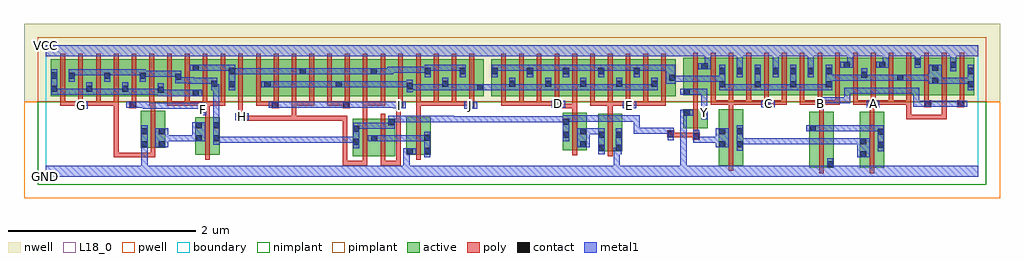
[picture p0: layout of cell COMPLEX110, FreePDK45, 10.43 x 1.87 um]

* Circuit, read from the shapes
.subckt COMPLEX110 A B C D E F G GND H I J VCC Y
M1 n1 G GND VSUBS nfet w=0.4u l=0.05u
M2 n2 F n1 VSUBS nfet w=0.4u l=0.05u
M3 n3 H n2 VSUBS nfet w=0.4u l=0.05u
M4 n2 I n3 VSUBS nfet w=0.4u l=0.05u
M5 n3 J GND VSUBS nfet w=0.4u l=0.05u
M6 n4 D n2 VSUBS nfet w=0.4u l=0.05u
M7 GND E n4 VSUBS nfet w=0.4u l=0.05u
M8 Y n2 GND VSUBS nfet w=0.2u l=0.05u
M9 n5 C n2 VSUBS nfet w=0.6u l=0.05u
M10 GND B n6 VSUBS nfet w=0.6u l=0.05u
M11 n6 A n5 VSUBS nfet w=0.6u l=0.05u
M12 n2 G n7 n8 pfet w=0.4u l=0.05u m=5
M13 n2 F n7 n8 pfet w=0.4u l=0.05u m=5
M14 n9 H n7 n8 pfet w=0.4u l=0.05u
M15 n10 I n9 n8 pfet w=0.4u l=0.05u
M16 n11 I n10 n8 pfet w=0.4u l=0.05u
M17 n7 H n11 n8 pfet w=0.4u l=0.05u
M18 n12 H n7 n8 pfet w=0.4u l=0.05u
M19 n10 I n12 n8 pfet w=0.4u l=0.05u
M20 n13 I n10 n8 pfet w=0.4u l=0.05u
M21 n7 H n13 n8 pfet w=0.4u l=0.05u
M22 n14 H n7 n8 pfet w=0.4u l=0.05u
M23 n10 I n14 n8 pfet w=0.4u l=0.05u
M24 n7 J n10 n8 pfet w=0.4u l=0.05u m=4
M25 n10 D n15 n8 pfet w=0.4u l=0.05u m=5
M26 n15 E n10 n8 pfet w=0.4u l=0.05u m=5
M27 VCC n2 Y n8 pfet w=0.4u l=0.05u
M28 n15 C VCC n8 pfet w=0.4u l=0.05u m=5
M29 VCC B n15 n8 pfet w=0.4u l=0.05u m=5
M30 n15 A VCC n8 pfet w=0.4u l=0.05u m=5
.ends

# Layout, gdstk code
import gdstk
lib = gdstk.Library(unit=1e-6, precision=1e-09)
def R(c, l, rs):  # rectangles x0, y0, x1, y1
    for r in rs: c.add(gdstk.rectangle(r[:2], r[2:], *l))
def A(c, l, x, y, w, h, nx, ny, dx, dy):  # array of equal rectangles
    R(c, l, [(x+i*dx, y+j*dy, x+i*dx+w, y+j*dy+h) for i in range(nx) for j in range(ny)])
active = (1, 0)
pwell = (2, 0)
nwell = (3, 0)
nimplant = (4, 0)
pimplant = (5, 0)
poly = (9, 0)
contact = (10, 0)
metal1 = (11, 0)
L18_0 = (18, 0)
boundary = (235, 0)

complex110 = lib.new_cell('COMPLEX110')
A(complex110, active, 0.615, 0.855, 0.075, 0.345, 3, 1, 0.38, 0)
A(complex110, active, 1.19, 0.855, 0.075, 0.215, 3, 1, 0.57, 0)
A(complex110, active, 5.895, 0.855, 0.075, 0.345, 3, 1, 0.38, 0)
A(complex110, active, 7.19, 0.867, 0.075, 0.333, 4, 1, 0.38, 0)
A(complex110, active, 7.76, 0.867, 0.075, 0.4, 3, 1, 0.76, 0)
A(complex110, active, 7.76, 0.867, 0.265, 0.4, 3, 1, 0.57, 0)
R(complex110, active, [(8.157,0.092,8.417,0.692), (8.342,0.092,8.417,0.647), (8.697,0.092,8.957,0.692), (7.19,0.117,7.45,0.717), (7.19,0.145,7.265,0.717), (7.375,0.145,7.45,0.717), (8.157,0.145,8.232,0.692), (8.697,0.145,8.772,0.677), (8.882,0.145,8.957,0.692), (3.28,0.217,3.355,0.617), (3.28,0.217,3.545,0.617), (3.47,0.217,3.73,0.617), (3.47,0.217,3.545,0.537), (1.595,0.232,1.855,0.632), (1.595,0.232,1.67,0.632), (1.78,0.232,1.855,0.632), (3.85,0.232,4.11,0.632), (3.85,0.232,3.925,0.492), (4.035,0.232,4.11,0.632), (5.9,0.27,6.16,0.67), (5.9,0.27,5.975,0.67), (6.085,0.27,6.16,0.597), (5.52,0.28,5.78,0.68), (5.705,0.28,5.78,0.68), (1.015,0.305,1.275,0.705), (1.015,0.305,1.09,0.705), (1.2,0.305,1.275,0.705), (3.655,0.322,3.73,0.617), (5.52,0.345,5.595,0.68), (6.81,0.517,6.885,0.717), (6.81,0.517,7.07,0.717), (6.995,0.517,7.07,0.717), (0.05,0.855,0.315,1.255), (0.05,0.855,0.125,1.2), (0.24,0.855,0.5,1.255), (0.24,0.855,0.315,1.2), (0.425,0.855,0.69,1.255), (0.425,0.855,0.5,1.07), (0.615,0.855,0.885,1.255), (0.81,0.855,1.07,1.255), (0.81,0.855,0.885,1.07), (0.995,0.855,1.265,1.255), (1.19,0.855,1.45,1.255), (1.375,0.855,1.64,1.255), (1.565,0.855,1.835,1.255), (1.565,0.855,1.64,1.2), (1.76,0.855,2.025,1.255), (1.95,0.855,2.025,1.2), (1.95,0.855,2.175,1.255), (2.175,0.855,2.405,1.255), (2.33,0.855,2.555,1.255), (2.555,0.855,2.78,1.255), (2.705,0.855,2.78,1.2), (2.705,0.855,2.935,1.255), (2.935,0.855,3.165,1.255), (3.09,0.855,3.165,1.07), (3.09,0.855,3.315,1.255), (3.315,0.855,3.54,1.255), (3.465,0.855,3.54,1.2), (3.465,0.855,3.695,1.255), (3.695,0.855,3.925,1.255), (3.85,0.855,4.115,1.255), (3.85,0.855,3.925,1.07), (4.04,0.855,4.305,1.255), (4.04,0.855,4.115,1.2), (4.23,0.855,4.49,1.255), (4.23,0.855,4.305,1.07), (4.415,0.855,4.68,1.255), (4.415,0.855,4.49,1.2), (4.605,0.855,4.68,1.2), (4.76,0.855,5.02,1.255), (4.76,0.855,4.835,1.2), (4.945,0.855,5.21,1.255), (4.945,0.855,5.02,1.07), (5.135,0.855,5.405,1.255), (5.135,0.855,5.21,1.2), (5.33,0.855,5.595,1.255), (5.33,0.855,5.405,1.07), (5.52,0.855,5.78,1.255), (5.52,0.855,5.595,1.2), (5.705,0.855,5.97,1.255), (5.705,0.855,5.78,1.07), (5.895,0.855,6.165,1.255), (6.09,0.855,6.35,1.255), (6.09,0.855,6.165,1.07), (6.275,0.855,6.54,1.255), (6.465,0.855,6.73,1.255), (6.465,0.855,6.54,1.07), (6.81,0.867,7.075,1.267), (6.81,0.867,6.885,1.07), (7,0.867,7.075,1.267), (7,0.867,7.265,1.267), (7.19,0.867,7.45,1.267), (7.375,0.867,7.45,1.267), (7.375,0.867,7.645,1.267), (7.57,0.867,7.835,1.267), (7.95,0.867,8.21,1.267), (8.135,0.867,8.405,1.267), (8.52,0.867,8.78,1.267), (8.705,0.867,8.975,1.267), (9.09,0.867,9.355,1.267), (9.09,0.867,9.165,1.2), (9.28,0.867,9.54,1.267), (9.465,0.867,9.54,1.2), (9.465,0.867,9.735,1.267), (9.66,0.867,9.92,1.267), (9.66,0.867,9.735,1.267), (9.845,0.867,9.92,1.2), (8.135,0.907,8.21,1.267), (8.705,0.907,8.78,1.2), (8.9,0.907,8.975,1.267)])
R(complex110, pwell, [(-0.235,-0.235,10.195,0.8)])
R(complex110, nwell, [(-0.235,0.8,10.195,1.635)])
R(complex110, nimplant, [(-0.09,-0.09,10.05,0.8)])
R(complex110, pimplant, [(-0.09,0.8,10.05,1.49)])
A(complex110, poly, 0.155, 0.755, 0.05, 0.095, 10, 1, 0.19, 0)
A(complex110, poly, 2.245, 0.755, 0.05, 0.095, 13, 1, 0.19, 0)
A(complex110, poly, 2.625, 0.755, 0.05, 0.05, 3, 1, 0.19, 0)
A(complex110, poly, 4.865, 0.755, 0.05, 0.095, 4, 1, 0.19, 0)
A(complex110, poly, 4.865, 0.755, 0.24, 0.05, 3, 1, 0.19, 0)
A(complex110, poly, 5.815, 0.755, 0.05, 0.095, 5, 1, 0.19, 0)
A(complex110, poly, 5.815, 0.755, 0.05, 0.05, 3, 1, 0.19, 0)
A(complex110, poly, 6.915, 0.767, 0.05, 0.095, 14, 1, 0.19, 0)
A(complex110, poly, 6.915, 0.767, 0.05, 0.05, 3, 1, 0.19, 0)
A(complex110, poly, 7.105, 0.767, 0.24, 0.05, 3, 1, 0.19, 0)
A(complex110, poly, 0.155, 0.8, 0.05, 0.51, 24, 1, 0.19, 0)
A(complex110, poly, 4.865, 0.8, 0.05, 0.51, 10, 1, 0.19, 0)
A(complex110, poly, 6.915, 0.812, 0.05, 0.51, 16, 1, 0.19, 0)
R(complex110, poly, [(8.262,0.037,8.312,0.747), (8.802,0.037,8.852,0.747), (7.295,0.062,7.345,0.772), (3.17,0.117,3.22,0.167), (3.17,0.117,3.22,0.167), (3.17,0.117,3.22,0.167), (3.17,0.117,3.435,0.167), (3.17,0.117,3.22,0.647), (3.385,0.117,3.435,0.212), (3.385,0.117,3.435,0.167), (3.385,0.117,3.435,0.167), (3.385,0.117,3.435,0.167), (3.575,0.117,3.625,0.212), (3.575,0.117,3.625,0.167), (3.575,0.117,3.792,0.167), (3.742,0.117,3.792,0.167), (3.742,0.117,3.792,0.167), (3.742,0.117,3.792,0.167), (3.742,0.117,3.792,0.167), (3.742,0.117,3.792,0.167), (3.742,0.117,3.792,0.167), (3.742,0.117,3.792,0.167), (3.742,0.117,3.792,0.78), (3.385,0.162,3.435,0.672), (3.575,0.162,3.625,0.672), (1.7,0.177,1.75,0.687), (3.955,0.177,4.005,0.687), (0.725,0.205,0.775,0.255), (0.725,0.205,0.775,0.255), (0.725,0.205,0.775,0.255), (0.725,0.205,0.775,0.255), (0.725,0.205,0.775,0.255), (0.725,0.205,1.022,0.255), (0.725,0.205,0.775,0.805), (0.972,0.205,1.022,0.255), (0.972,0.205,1.17,0.255), (1.12,0.205,1.17,0.3), (1.12,0.205,1.17,0.255), (1.12,0.205,1.17,0.255), (1.12,0.205,1.17,0.255), (6.005,0.215,6.055,0.725), (5.625,0.225,5.675,0.735), (1.12,0.25,1.17,0.76), (6.912,0.392,6.987,0.467), (6.637,0.417,6.712,0.492), (6.662,0.417,6.757,0.467), (6.707,0.417,6.757,0.467), (6.707,0.417,6.962,0.467), (6.912,0.417,6.962,0.467), (6.912,0.417,6.962,0.467), (6.915,0.417,6.965,0.512), (6.915,0.462,6.965,0.772), (2.055,0.597,2.13,0.672), (2.08,0.597,2.13,0.647), (2.08,0.597,2.13,0.647), (2.08,0.597,2.13,0.647), (2.08,0.597,2.13,0.647), (2.08,0.597,2.13,0.647), (2.08,0.597,2.13,0.647), (2.08,0.597,2.262,0.647), (2.212,0.597,2.262,0.647), (2.212,0.597,2.262,0.647), (2.212,0.597,2.262,0.647), (2.212,0.597,2.542,0.647), (2.492,0.597,2.542,0.647), (2.492,0.597,2.542,0.647), (2.492,0.597,2.542,0.647), (2.492,0.597,2.675,0.647), (2.625,0.597,2.675,0.647), (2.625,0.597,2.675,0.647), (2.625,0.597,2.675,0.647), (2.625,0.597,2.675,0.647), (2.625,0.597,2.675,0.647), (2.625,0.597,2.675,0.647), (2.625,0.597,2.675,0.647), (2.625,0.597,2.675,0.647), (2.625,0.597,2.675,0.647), (2.625,0.597,2.897,0.647), (2.625,0.597,2.675,0.805), (2.847,0.597,2.897,0.647), (2.847,0.597,2.897,0.647), (2.847,0.597,2.897,0.647), (2.847,0.597,3.087,0.647), (3.037,0.597,3.087,0.647), (3.037,0.597,3.22,0.647), (3.17,0.597,3.22,0.647), (9.195,0.61,9.245,0.66), (9.195,0.61,9.245,0.66), (9.195,0.61,9.245,0.66), (9.195,0.61,9.492,0.66), (9.195,0.61,9.245,0.817), (9.442,0.61,9.492,0.66), (9.442,0.61,9.492,0.66), (9.442,0.61,9.492,0.66), (9.442,0.61,9.625,0.66), (9.575,0.61,9.625,0.862), (9.575,0.61,9.625,0.66), (9.575,0.61,9.625,0.66), (9.575,0.61,9.625,0.66), (9.575,0.61,9.625,0.66), (9.575,0.61,9.625,0.66), (9.575,0.61,9.625,0.66), (9.575,0.61,9.625,0.66), (2.055,0.622,2.105,0.85), (3.385,0.622,3.435,0.805), (1.7,0.637,1.75,0.732), (3.955,0.637,4.005,0.805), (6.005,0.675,6.055,0.805), (1.642,0.682,1.75,0.805), (5.625,0.685,5.675,0.78), (8.262,0.697,8.312,0.792), (8.802,0.697,8.852,0.792), (1.12,0.71,1.17,0.805), (6.915,0.722,6.965,0.817), (7.295,0.722,7.345,0.817), (0.342,0.73,0.417,0.805), (0.89,0.73,0.965,0.805), (2.41,0.73,2.485,0.805), (3.17,0.73,3.245,0.805), (3.742,0.73,3.817,0.805), (3.742,0.73,3.792,0.78), (3.742,0.73,3.792,0.78), (3.742,0.73,3.792,0.78), (3.742,0.73,3.792,0.78), (4.5,0.73,4.575,0.805), (5.435,0.73,5.51,0.805), (5.46,0.73,5.51,0.78), (5.46,0.73,5.51,0.78), (5.46,0.73,5.675,0.78), (5.625,0.73,5.675,0.78), (5.625,0.73,5.675,0.85), (6.195,0.73,6.27,0.805), (7.675,0.742,7.75,0.817), (8.242,0.742,8.317,0.817), (8.802,0.742,8.877,0.817), (9.385,0.742,9.46,0.817), (9.74,0.742,9.815,0.817), (0.155,0.755,0.205,0.805), (0.155,0.755,0.205,0.805), (0.155,0.755,0.205,0.805), (0.155,0.755,0.392,0.805), (0.367,0.755,0.417,0.805), (0.367,0.755,0.417,0.805), (0.367,0.755,0.585,0.805), (0.535,0.755,0.585,0.805), (0.535,0.755,0.585,0.805), (0.535,0.755,0.585,0.805), (0.535,0.755,0.775,0.805), (0.725,0.755,0.775,0.805), (0.725,0.755,0.775,0.805), (0.725,0.755,0.775,0.805), (0.725,0.755,0.775,0.805), (0.725,0.755,0.775,0.805), (0.725,0.755,0.775,0.805), (0.725,0.755,0.775,0.805), (1.105,0.755,1.17,0.805), (1.295,0.755,1.345,0.805), (1.295,0.755,1.535,0.805), (1.485,0.755,1.535,0.805), (1.485,0.755,1.535,0.805), (1.485,0.755,1.535,0.805), (1.485,0.755,1.692,0.805), (1.642,0.755,1.692,0.805), (1.642,0.755,1.692,0.805), (1.7,0.755,1.915,0.805), (1.865,0.755,1.915,0.805), (1.865,0.755,1.915,0.805), (1.865,0.755,1.915,0.805), (2.245,0.755,2.295,0.805), (2.245,0.755,2.295,0.805), (2.245,0.755,2.295,0.805), (2.245,0.755,2.46,0.805), (2.625,0.755,2.675,0.805), (2.625,0.755,2.675,0.805), (2.625,0.755,2.865,0.805), (3.005,0.755,3.22,0.805), (3.17,0.755,3.22,0.805), (3.17,0.755,3.22,0.805), (3.385,0.755,3.435,0.805), (3.385,0.755,3.625,0.805), (3.575,0.755,3.625,0.805), (3.575,0.755,3.625,0.805), (3.575,0.755,3.625,0.805), (3.955,0.755,4.005,0.805), (3.955,0.755,4.195,0.805), (4.145,0.755,4.195,0.805), (4.145,0.755,4.195,0.805), (4.145,0.755,4.195,0.805), (4.145,0.755,4.385,0.805), (4.335,0.755,4.385,0.805), (4.335,0.755,4.385,0.805), (4.335,0.755,4.385,0.805), (4.335,0.755,4.55,0.805), (4.5,0.755,4.55,0.805), (4.5,0.755,4.55,0.805), (4.865,0.755,4.915,0.805), (4.865,0.755,4.915,0.805), (4.865,0.755,4.915,0.805), (5.055,0.755,5.105,0.805), (5.055,0.755,5.105,0.805), (5.055,0.755,5.105,0.805), (5.245,0.755,5.295,0.805), (5.245,0.755,5.295,0.805), (5.245,0.755,5.295,0.805), (5.815,0.755,5.865,0.805), (5.815,0.755,5.865,0.805), (5.815,0.755,6.055,0.805), (6.005,0.755,6.245,0.805), (6.195,0.755,6.245,0.805), (6.22,0.755,6.435,0.805), (6.385,0.755,6.435,0.805), (6.385,0.755,6.435,0.805), (6.385,0.755,6.435,0.805), (6.385,0.755,6.625,0.805), (6.575,0.755,6.625,0.805), (6.575,0.755,6.625,0.805), (6.575,0.755,6.625,0.805), (7.295,0.767,7.345,0.817), (7.295,0.767,7.345,0.817), (7.485,0.767,7.535,0.817), (7.485,0.767,7.535,0.817), (7.485,0.767,7.535,0.817), (7.675,0.767,7.725,0.817), (7.675,0.767,7.725,0.817), (7.7,0.767,7.915,0.817), (7.865,0.767,7.915,0.817), (7.865,0.767,7.915,0.817), (7.865,0.767,7.915,0.817), (8.055,0.767,8.105,0.817), (8.055,0.767,8.105,0.817), (8.055,0.767,8.105,0.817), (8.055,0.767,8.292,0.817), (8.267,0.767,8.317,0.817), (8.267,0.767,8.317,0.817), (8.267,0.767,8.485,0.817), (8.435,0.767,8.485,0.817), (8.625,0.767,8.675,0.817), (8.625,0.767,8.675,0.817), (8.625,0.767,8.675,0.817), (8.625,0.767,8.852,0.817), (8.827,0.767,9.055,0.817), (9.005,0.767,9.055,0.817), (9.005,0.767,9.055,0.817), (9.005,0.767,9.055,0.817), (9.005,0.767,9.245,0.817), (9.195,0.767,9.245,0.817), (9.195,0.767,9.245,0.817), (9.195,0.767,9.245,0.817), (9.765,0.767,9.815,0.862)])
A(complex110, contact, 7.195, 0.955, 0.065, 0.065, 4, 1, 0.38, 0)
A(complex110, contact, 7.575, 1.095, 0.065, 0.065, 3, 1, 0.19, 0)
R(complex110, contact, [(8.347,0.097,8.412,0.162), (8.702,0.205,8.767,0.27), (3.855,0.237,3.92,0.302), (4.04,0.24,4.105,0.305), (5.905,0.275,5.97,0.34), (6.09,0.275,6.155,0.34), (8.887,0.307,8.952,0.372), (1.02,0.31,1.085,0.375), (1.205,0.31,1.27,0.375), (5.71,0.31,5.775,0.375), (7.195,0.31,7.26,0.375), (7.38,0.31,7.445,0.375), (3.285,0.337,3.35,0.402), (8.702,0.345,8.767,0.41), (1.6,0.375,1.665,0.44), (1.785,0.375,1.85,0.44), (3.475,0.375,3.54,0.44), (4.04,0.38,4.105,0.445), (6.917,0.397,6.982,0.462), (5.525,0.412,5.59,0.477), (5.905,0.415,5.97,0.48), (6.09,0.415,6.155,0.48), (6.642,0.422,6.707,0.487), (8.887,0.447,8.952,0.512), (1.02,0.45,1.085,0.515), (1.205,0.45,1.27,0.515), (5.71,0.45,5.775,0.515), (7.195,0.45,7.26,0.515), (7.38,0.45,7.445,0.515), (3.285,0.477,3.35,0.542), (8.162,0.482,8.227,0.547), (1.6,0.515,1.665,0.58), (1.785,0.515,1.85,0.58), (3.66,0.547,3.725,0.612), (5.525,0.552,5.59,0.617), (2.06,0.602,2.125,0.667), (6.815,0.647,6.88,0.712), (7,0.647,7.065,0.712), (1.647,0.687,1.712,0.752), (0.347,0.735,0.412,0.8), (0.895,0.735,0.96,0.8), (2.415,0.735,2.48,0.8), (3.175,0.735,3.24,0.8), (3.747,0.735,3.812,0.8), (4.505,0.735,4.57,0.8), (5.44,0.735,5.505,0.8), (6.2,0.735,6.265,0.8), (7.68,0.747,7.745,0.812), (8.247,0.747,8.312,0.812), (8.807,0.747,8.872,0.812), (9.39,0.747,9.455,0.812), (9.745,0.747,9.81,0.812), (1.57,0.86,1.635,0.925), (6.815,0.872,6.88,0.937), (1.195,0.895,1.26,0.96), (0.055,0.907,0.12,0.972), (0.43,0.907,0.495,0.972), (0.815,0.907,0.88,0.972), (4.61,0.922,4.675,0.987), (3.855,0.935,3.92,1), (1.955,0.955,2.02,1.02), (2.335,0.955,2.4,1.02), (3.095,0.955,3.16,1.02), (9.85,0.955,9.915,1.02), (1.765,0.957,1.83,1.022), (4.235,0.957,4.3,1.022), (4.95,0.957,5.015,1.022), (5.335,0.957,5.4,1.022), (5.71,0.957,5.775,1.022), (6.095,0.957,6.16,1.022), (6.47,0.957,6.535,1.022), (9.47,0.99,9.535,1.055), (9.095,1.022,9.16,1.087), (6.66,1.025,6.725,1.09), (1.38,1.032,1.445,1.097), (0.245,1.045,0.31,1.11), (0.62,1.045,0.685,1.11), (1,1.045,1.065,1.11), (0.055,1.047,0.12,1.112), (8.71,1.057,8.775,1.122), (2.71,1.092,2.775,1.157), (3.47,1.092,3.535,1.157), (1.955,1.095,2.02,1.16), (4.045,1.095,4.11,1.16), (4.42,1.095,4.485,1.16), (4.765,1.095,4.83,1.16), (5.14,1.095,5.205,1.16), (5.525,1.095,5.59,1.16), (5.9,1.095,5.965,1.16), (6.28,1.095,6.345,1.16), (7.195,1.095,7.26,1.16), (7.38,1.095,7.445,1.16), (8.14,1.095,8.205,1.16), (8.335,1.095,8.4,1.16), (9.85,1.095,9.915,1.16), (1.57,1.13,1.635,1.195), (9.47,1.13,9.535,1.195), (7.005,1.147,7.07,1.212), (8.525,1.16,8.59,1.225), (8.905,1.16,8.97,1.225), (9.665,1.162,9.73,1.227), (9.285,1.195,9.35,1.26)])
A(complex110, metal1, 7.195, 0.92, 0.065, 0.275, 4, 1, 0.38, 0)
R(complex110, metal1, [(0,0,9.96,0.115), (1.02,0.05,1.085,0.115), (1.02,0.05,1.085,0.115), (1.02,0.05,1.085,0.34), (3.82,0.05,3.885,0.115), (3.82,0.05,3.885,0.115), (3.82,0.05,3.885,0.115), (3.82,0.05,3.885,0.115), (3.82,0.05,3.885,0.302), (6.067,0.05,6.132,0.115), (6.067,0.05,6.132,0.115), (6.067,0.05,6.132,0.305), (6.78,0.05,6.845,0.115), (6.78,0.05,6.845,0.115), (6.78,0.05,6.845,0.115), (6.78,0.05,6.845,0.115), (6.78,0.05,6.845,0.115), (6.78,0.05,6.845,0.115), (6.78,0.05,6.845,0.115), (6.78,0.05,6.845,0.115), (6.78,0.05,6.845,0.712), (8.347,0.05,8.412,0.127), (8.347,0.062,8.412,0.127), (8.347,0.062,8.412,0.127), (8.347,0.062,8.412,0.197), (4.04,0.205,4.105,0.48), (8.667,0.205,8.802,0.41), (3.82,0.237,3.955,0.302), (5.902,0.24,5.97,0.515), (6.067,0.24,6.155,0.305), (6.09,0.24,6.155,0.305), (6.09,0.24,6.155,0.515), (8.887,0.272,8.952,0.547), (1.02,0.275,1.085,0.34), (1.02,0.275,1.085,0.34), (1.02,0.275,1.085,0.55), (7.38,0.275,7.445,0.55), (3.285,0.302,3.35,0.577), (1.17,0.31,1.305,0.515), (5.675,0.31,5.81,0.515), (7.16,0.31,7.295,0.515), (1.785,0.34,1.85,0.615), (7.38,0.345,7.5,0.41), (7.435,0.345,7.5,0.41), (7.435,0.345,7.692,0.41), (7.627,0.345,7.692,0.41), (7.627,0.345,7.692,0.41), (7.627,0.345,7.692,0.41), (7.627,0.345,7.882,0.41), (7.817,0.345,7.882,0.41), (7.817,0.345,7.882,0.41), (7.817,0.345,7.882,0.41), (7.817,0.345,8.02,0.41), (7.955,0.345,8.02,0.41), (7.955,0.345,8.02,0.41), (7.955,0.345,8.02,0.41), (7.955,0.345,8.262,0.41), (8.197,0.345,8.262,0.41), (8.197,0.345,8.262,0.41), (8.197,0.345,8.262,0.41), (8.197,0.345,8.417,0.41), (8.352,0.345,8.417,0.41), (8.352,0.345,8.45,0.41), (8.385,0.345,8.45,0.41), (8.385,0.345,8.595,0.41), (8.53,0.345,8.595,0.41), (8.53,0.345,8.595,0.41), (8.53,0.345,8.595,0.41), (8.53,0.345,8.732,0.41), (1.785,0.362,1.912,0.427), (1.847,0.362,1.912,0.427), (1.847,0.362,2.09,0.427), (2.025,0.362,2.09,0.427), (2.025,0.362,2.09,0.427), (2.025,0.362,2.09,0.427), (2.025,0.362,2.227,0.427), (2.162,0.362,2.227,0.427), (2.162,0.362,2.227,0.427), (2.162,0.362,2.227,0.427), (2.162,0.362,2.365,0.427), (2.3,0.362,2.365,0.427), (2.3,0.362,2.365,0.427), (2.3,0.362,2.365,0.427), (2.3,0.362,2.572,0.427), (2.507,0.362,2.572,0.427), (2.507,0.362,2.712,0.427), (2.647,0.362,2.712,0.427), (2.647,0.362,2.712,0.427), (2.647,0.362,2.712,0.427), (2.647,0.362,2.85,0.427), (2.785,0.362,2.85,0.427), (2.785,0.362,2.987,0.427), (2.922,0.362,2.987,0.427), (2.922,0.362,2.987,0.427), (2.922,0.362,2.987,0.427), (2.922,0.362,3.125,0.427), (3.06,0.362,3.125,0.427), (3.06,0.362,3.35,0.427), (3.285,0.362,3.35,0.427), (3.285,0.362,3.35,0.427), (6.917,0.362,6.982,0.497), (6.917,0.362,7.035,0.427), (6.97,0.362,7.035,0.427), (6.97,0.362,7.225,0.427), (7.16,0.362,7.225,0.427), (7.16,0.362,7.225,0.427), (1.24,0.375,1.305,0.44), (1.24,0.375,1.305,0.44), (1.24,0.375,1.445,0.44), (1.38,0.375,1.445,0.44), (1.38,0.375,1.445,0.44), (1.38,0.375,1.445,0.44), (1.38,0.375,1.63,0.44), (1.565,0.375,1.7,0.58), (3.44,0.375,3.575,0.44), (3.51,0.375,3.625,0.44), (3.56,0.375,3.625,0.44), (3.56,0.375,3.712,0.44), (3.647,0.375,3.712,0.44), (3.647,0.375,3.885,0.44), (3.82,0.375,3.885,0.44), (3.82,0.375,3.885,0.44), (3.82,0.375,3.885,0.44), (3.82,0.375,4.09,0.44), (4.025,0.375,4.09,0.44), (4.025,0.375,4.105,0.44), (5.525,0.377,5.59,0.652), (6.642,0.387,6.707,0.522), (5.745,0.45,5.912,0.515), (5.847,0.45,5.912,0.515), (5.847,0.45,5.967,0.515), (6.28,0.457,6.345,0.522), (6.28,0.457,6.482,0.522), (6.28,0.457,6.345,0.652), (6.417,0.457,6.482,0.522), (6.417,0.457,6.482,0.522), (6.417,0.457,6.482,0.522), (6.417,0.457,6.707,0.522), (8.127,0.482,8.262,0.547), (8.197,0.482,8.262,0.547), (8.197,0.482,8.262,0.547), (8.197,0.482,8.417,0.547), (8.352,0.482,8.417,0.547), (8.352,0.482,8.45,0.547), (8.385,0.482,8.45,0.547), (8.385,0.482,8.595,0.547), (8.53,0.482,8.595,0.547), (8.53,0.482,8.595,0.547), (8.53,0.482,8.595,0.547), (8.53,0.482,8.732,0.547), (8.667,0.482,8.732,0.547), (8.667,0.482,8.952,0.547), (8.887,0.482,8.952,0.547), (8.887,0.482,8.952,0.547), (3.285,0.512,3.487,0.577), (3.422,0.512,3.487,0.577), (3.422,0.512,3.487,0.577), (3.422,0.512,3.487,0.577), (3.422,0.512,3.625,0.577), (3.56,0.512,3.625,0.577), (3.56,0.512,3.725,0.577), (3.66,0.512,3.725,0.647), (1.785,0.55,1.85,0.615), (1.785,0.55,1.85,0.615), (1.785,0.55,1.85,0.987), (4.3,0.58,4.502,0.645), (4.3,0.58,4.365,0.647), (4.437,0.58,4.502,0.645), (4.437,0.58,4.502,0.645), (4.437,0.58,4.502,0.645), (4.437,0.58,4.64,0.645), (4.575,0.58,4.64,0.645), (4.575,0.58,4.877,0.645), (4.812,0.58,4.877,0.645), (4.812,0.58,4.877,0.645), (4.812,0.58,4.877,0.645), (4.812,0.58,5.015,0.645), (4.95,0.58,5.015,0.645), (4.95,0.58,5.015,0.645), (4.95,0.58,5.015,0.645), (4.95,0.58,5.152,0.645), (5.087,0.58,5.152,0.645), (5.087,0.58,5.152,0.645), (5.087,0.58,5.152,0.645), (5.087,0.58,5.452,0.645), (5.387,0.58,5.452,0.645), (5.387,0.58,5.59,0.645), (5.525,0.58,5.59,0.645), (5.525,0.58,5.59,0.645), (3.66,0.582,3.885,0.647), (3.82,0.582,3.885,0.647), (3.82,0.582,3.885,0.647), (3.82,0.582,3.885,0.647), (3.82,0.582,4.08,0.647), (4.015,0.582,4.08,0.647), (4.015,0.582,4.08,0.647), (4.015,0.582,4.08,0.647), (4.015,0.582,4.227,0.647), (4.162,0.582,4.227,0.647), (4.162,0.582,4.347,0.647), (4.282,0.582,4.347,0.647), (4.282,0.582,4.365,0.647), (5.525,0.587,5.727,0.652), (5.662,0.587,5.727,0.652), (5.662,0.587,5.727,0.652), (5.662,0.587,5.727,0.652), (5.662,0.587,5.912,0.652), (5.847,0.587,5.912,0.652), (5.847,0.587,5.947,0.652), (5.882,0.587,5.947,0.652), (5.882,0.587,6.05,0.652), (5.985,0.587,6.05,0.652), (5.985,0.587,6.16,0.652), (6.095,0.587,6.16,0.652), (6.095,0.587,6.345,0.652), (6.28,0.587,6.345,0.652), (6.28,0.587,6.345,0.652), (6.28,0.587,6.345,0.652), (6.28,0.587,6.345,0.652), (6.28,0.587,6.345,0.652), (2.025,0.602,2.167,0.675), (7,0.612,7.072,0.747), (6.78,0.647,6.915,0.712), (1.647,0.652,1.712,0.787), (7,0.682,7.065,0.937), (8.247,0.712,8.312,0.847), (0.312,0.722,0.447,0.8), (1.032,0.722,1.167,0.787), (1.032,0.722,1.097,0.8), (1.102,0.722,1.167,0.787), (1.102,0.722,1.305,0.787), (1.24,0.722,1.305,0.787), (1.24,0.722,1.305,0.787), (1.24,0.722,1.305,0.787), (1.24,0.722,1.445,0.787), (1.38,0.722,1.445,0.787), (1.38,0.722,1.445,0.787), (1.38,0.722,1.445,0.787), (1.38,0.722,1.692,0.787), (1.627,0.722,1.692,0.787), (1.627,0.722,1.712,0.787), (4.47,0.722,4.607,0.8), (3.712,0.727,3.847,0.8), (6.165,0.727,6.307,0.8), (0.86,0.735,0.995,0.8), (0.93,0.735,1.097,0.8), (2.38,0.735,2.515,0.8), (2.45,0.735,2.572,0.8), (2.507,0.735,2.572,0.8), (2.507,0.735,2.712,0.8), (2.647,0.735,2.712,0.8), (2.647,0.735,2.712,0.8), (2.647,0.735,2.712,0.8), (2.647,0.735,2.85,0.8), (2.785,0.735,2.85,0.8), (2.785,0.735,2.987,0.8), (2.922,0.735,2.987,0.8), (2.922,0.735,2.987,0.8), (2.922,0.735,2.987,0.8), (2.922,0.735,3.205,0.8), (3.14,0.735,3.205,0.8), (3.14,0.735,3.205,0.8), (3.14,0.735,3.275,0.8), (3.21,0.735,3.35,0.8), (3.285,0.735,3.35,0.8), (3.285,0.735,3.487,0.8), (3.422,0.735,3.487,0.8), (3.422,0.735,3.487,0.8), (3.422,0.735,3.487,0.8), (3.422,0.735,3.625,0.8), (3.56,0.735,3.625,0.8), (3.56,0.735,3.712,0.8), (3.647,0.735,3.712,0.8), (3.647,0.735,3.777,0.8), (5.405,0.735,5.547,0.812), (8.772,0.735,8.907,0.812), (7.645,0.74,7.787,0.812), (9.267,0.747,9.332,0.812), (9.267,0.747,9.42,0.812), (9.267,0.747,9.332,0.95), (9.355,0.747,9.49,0.812), (9.425,0.747,9.49,0.812), (9.425,0.747,9.49,0.812), (9.425,0.747,9.637,0.812), (9.572,0.747,9.637,0.812), (9.572,0.747,9.775,0.812), (9.71,0.747,9.775,0.812), (9.71,0.747,9.775,0.812), (9.71,0.747,9.845,0.812), (8.247,0.782,8.417,0.847), (8.352,0.782,8.417,0.847), (8.352,0.782,8.45,0.847), (8.385,0.782,8.45,0.847), (8.385,0.782,8.595,0.847), (8.53,0.782,8.595,0.847), (8.53,0.782,8.595,0.95), (1.195,0.86,1.26,0.995), (1.195,0.86,1.305,0.925), (1.24,0.86,1.305,0.925), (1.24,0.86,1.442,0.925), (1.377,0.86,1.442,0.925), (1.377,0.86,1.442,0.925), (1.377,0.86,1.442,0.925), (1.377,0.86,1.6,0.925), (1.535,0.86,1.67,0.925), (0.055,0.872,0.12,0.937), (0.055,0.872,0.12,0.937), (0.055,0.872,0.12,1.147), (0.055,0.872,0.257,0.937), (0.192,0.872,0.257,0.937), (0.192,0.872,0.257,0.937), (0.192,0.872,0.257,0.937), (0.192,0.872,0.495,0.937), (0.43,0.872,0.495,0.937), (0.43,0.872,0.495,0.937), (0.43,0.872,0.495,1.007), (0.43,0.872,0.632,0.937), (0.567,0.872,0.632,0.937), (0.567,0.872,0.685,0.937), (0.62,0.872,0.685,0.937), (0.62,0.872,0.88,0.937), (0.815,0.872,0.88,0.937), (0.815,0.872,0.88,0.937), (0.815,0.872,0.88,1.007), (0.815,0.872,1.017,0.937), (0.952,0.872,1.017,0.937), (0.952,0.872,1.132,0.937), (1.067,0.872,1.132,0.937), (1.067,0.872,1.26,0.937), (6.78,0.872,6.915,0.937), (6.832,0.872,6.897,0.937), (6.832,0.872,6.897,0.937), (6.832,0.872,6.897,0.937), (6.832,0.872,6.897,0.937), (6.832,0.872,6.897,0.937), (6.832,0.872,6.897,0.937), (6.832,0.872,7.065,0.937), (7,0.872,7.065,0.937), (8.53,0.885,8.595,0.95), (8.53,0.885,8.595,0.95), (8.53,0.885,8.595,0.95), (8.53,0.885,8.737,0.95), (8.672,0.885,8.737,0.95), (8.672,0.885,8.737,0.95), (8.672,0.885,8.737,0.95), (8.672,0.885,8.912,0.95), (8.847,0.885,8.912,0.95), (8.847,0.885,9.09,0.95), (9.025,0.885,9.09,0.95), (9.025,0.885,9.09,0.95), (9.025,0.885,9.09,0.95), (9.025,0.885,9.262,0.95), (9.197,0.885,9.262,0.95), (9.197,0.885,9.332,0.95), (9.267,0.885,9.332,0.95), (3.855,0.9,3.92,1.035), (1.955,0.92,2.02,1.195), (7.195,0.92,7.362,0.985), (7.297,0.92,7.362,0.985), (7.297,0.92,7.5,0.985), (7.435,0.92,7.5,0.985), (7.435,0.92,7.5,0.985), (7.435,0.92,7.5,0.985), (7.435,0.92,7.64,0.985), (9.85,0.92,9.915,1.195), (1.765,0.922,1.83,0.987), (1.765,0.922,1.83,1.057), (1.765,0.922,1.85,0.987), (3.855,0.922,4.09,0.987), (4.025,0.922,4.09,0.987), (4.025,0.922,4.09,0.987), (4.025,0.922,4.09,0.987), (4.025,0.922,4.227,0.987), (4.162,0.922,4.227,0.987), (4.162,0.922,4.3,0.987), (4.235,0.922,4.3,1.057), (4.235,0.922,4.365,0.987), (4.3,0.922,4.365,0.987), (4.3,0.922,4.502,0.987), (4.437,0.922,4.502,0.987), (4.437,0.922,4.502,0.987), (4.437,0.922,4.502,0.987), (4.437,0.922,4.64,0.987), (4.575,0.922,4.71,0.987), (4.645,0.922,4.71,0.987), (4.645,0.922,4.71,0.987), (4.645,0.922,4.877,0.987), (4.812,0.922,4.877,0.987), (4.812,0.922,5.015,0.987), (4.95,0.922,5.015,0.987), (4.95,0.922,5.015,0.987), (4.95,0.922,5.015,1.057), (4.95,0.922,5.152,0.987), (5.087,0.922,5.152,0.987), (5.087,0.922,5.152,0.987), (5.087,0.922,5.152,0.987), (5.087,0.922,5.4,0.987), (5.335,0.922,5.4,1.057), (5.335,0.922,5.59,0.987), (5.525,0.922,5.59,0.987), (5.525,0.922,5.59,0.987), (5.525,0.922,5.59,0.987), (5.525,0.922,5.775,0.987), (5.71,0.922,5.775,0.987), (5.71,0.922,5.775,0.987), (5.71,0.922,5.775,1.057), (5.71,0.922,5.912,0.987), (5.847,0.922,5.912,0.987), (5.847,0.922,5.995,0.987), (5.93,0.922,5.995,0.987), (5.93,0.922,6.05,0.987), (5.985,0.922,6.05,0.987), (5.985,0.922,6.16,0.987), (6.095,0.922,6.16,1.057), (6.095,0.922,6.297,0.987), (6.232,0.922,6.297,0.987), (6.232,0.922,6.297,0.987), (6.232,0.922,6.297,0.987), (6.232,0.922,6.535,0.987), (6.47,0.922,6.535,0.987), (6.47,0.922,6.535,0.987), (6.47,0.922,6.535,1.057), (7.575,0.922,7.64,0.987), (7.575,0.922,7.64,0.987), (7.575,0.922,7.85,0.987), (7.785,0.922,7.85,0.987), (7.785,0.922,7.85,0.987), (7.785,0.922,7.85,0.987), (7.785,0.922,8.02,0.987), (7.955,0.922,8.02,0.987), (7.955,0.922,8.02,0.987), (7.955,0.922,8.262,0.987), (8.197,0.922,8.262,0.987), (8.197,0.922,8.262,0.987), (8.197,0.922,8.262,0.987), (8.197,0.922,8.4,0.987), (2.3,0.955,2.435,1.02), (2.37,0.955,2.572,1.02), (2.507,0.955,2.572,1.02), (2.507,0.955,2.572,1.02), (2.507,0.955,2.572,1.02), (2.507,0.955,2.712,1.02), (2.647,0.955,2.712,1.02), (2.647,0.955,2.712,1.02), (2.647,0.955,2.712,1.02), (2.647,0.955,2.85,1.02), (2.785,0.955,2.85,1.02), (2.785,0.955,2.987,1.02), (2.922,0.955,2.987,1.02), (2.922,0.955,2.987,1.02), (2.922,0.955,2.987,1.02), (2.922,0.955,3.125,1.02), (3.06,0.955,3.195,1.02), (3.13,0.955,3.342,1.02), (3.277,0.955,3.342,1.02), (3.277,0.955,3.342,1.02), (3.277,0.955,3.342,1.02), (3.277,0.955,3.487,1.02), (3.422,0.955,3.487,1.02), (3.422,0.955,3.487,1.02), (3.422,0.955,3.487,1.02), (3.422,0.955,3.625,1.02), (3.56,0.955,3.625,1.02), (3.56,0.955,3.712,1.02), (3.647,0.955,3.712,1.02), (3.647,0.955,3.762,1.02), (3.697,0.955,3.762,1.02), (3.697,0.955,3.92,1.02), (6.625,0.99,6.725,1.195), (9.435,0.99,9.57,1.195), (9.505,0.99,9.637,1.055), (9.572,0.99,9.637,1.055), (9.572,0.99,9.777,1.055), (9.712,0.99,9.777,1.055), (9.712,0.99,9.915,1.055), (9.85,0.99,9.915,1.055), (9.85,0.99,9.915,1.055), (1.517,0.992,1.775,1.057), (1.517,0.992,1.582,1.062), (1.71,0.992,1.775,1.057), (1.71,0.992,1.83,1.057), (1.38,0.997,1.445,1.062), (1.38,0.997,1.445,1.062), (1.38,0.997,1.445,1.132), (1.38,0.997,1.582,1.062), (0.245,1.01,0.31,1.145), (0.62,1.01,0.685,1.145), (1,1.01,1.065,1.145), (6.66,1.01,6.897,1.075), (6.832,1.01,6.897,1.075), (6.832,1.01,6.897,1.075), (6.832,1.01,6.897,1.075), (6.832,1.01,7.035,1.075), (6.97,1.01,7.035,1.075), (6.97,1.01,7.122,1.075), (7.057,1.01,7.122,1.075), (7.057,1.01,7.26,1.075), (8.335,1.022,8.45,1.087), (8.385,1.022,8.45,1.087), (8.385,1.022,8.595,1.087), (8.53,1.022,8.595,1.087), (8.53,1.022,8.595,1.087), (8.53,1.022,8.595,1.087), (8.53,1.022,8.775,1.087), (8.71,1.022,8.775,1.087), (8.71,1.022,8.775,1.087), (8.71,1.022,8.775,1.157), (8.71,1.022,8.952,1.087), (8.887,1.022,8.952,1.087), (8.887,1.022,9.125,1.087), (9.06,1.022,9.125,1.087), (9.06,1.022,9.125,1.087), (9.06,1.022,9.195,1.087), (9.13,1.022,9.262,1.087), (9.197,1.022,9.262,1.087), (9.197,1.022,9.352,1.087), (9.287,1.022,9.352,1.087), (9.287,1.022,9.5,1.087), (9.435,1.022,9.5,1.087), (9.435,1.022,9.5,1.087), (4.045,1.06,4.11,1.195), (4.42,1.06,4.485,1.195), (4.765,1.06,4.83,1.195), (5.14,1.06,5.205,1.195), (5.525,1.06,5.59,1.195), (5.9,1.06,5.965,1.195), (6.28,1.06,6.345,1.195), (7.38,1.06,7.445,1.195), (7.765,1.06,7.83,1.195), (8.14,1.06,8.205,1.195), (1,1.067,1.132,1.132), (1.067,1.067,1.132,1.132), (1.067,1.067,1.305,1.132), (1.24,1.067,1.305,1.132), (1.24,1.067,1.305,1.132), (1.24,1.067,1.305,1.132), (1.24,1.067,1.445,1.132), (0.245,1.08,0.31,1.145), (0.245,1.08,0.31,1.145), (0.245,1.08,0.495,1.145), (0.43,1.08,0.495,1.145), (0.43,1.08,0.547,1.145), (0.482,1.08,0.547,1.145), (0.482,1.08,0.685,1.145), (0.62,1.08,0.685,1.145), (0.62,1.08,0.685,1.145), (0.62,1.08,0.822,1.145), (0.757,1.08,0.822,1.145), (0.757,1.08,0.822,1.145), (0.757,1.08,0.822,1.145), (0.757,1.08,1.065,1.145), (1.955,1.092,2.09,1.157), (2.025,1.092,2.09,1.157), (2.025,1.092,2.227,1.157), (2.162,1.092,2.227,1.157), (2.162,1.092,2.227,1.157), (2.162,1.092,2.227,1.157), (2.162,1.092,2.435,1.157), (2.37,1.092,2.435,1.157), (2.37,1.092,2.572,1.157), (2.507,1.092,2.572,1.157), (2.507,1.092,2.572,1.157), (2.507,1.092,2.572,1.157), (2.507,1.092,2.71,1.157), (2.645,1.092,2.71,1.157), (2.645,1.092,2.74,1.157), (2.675,1.092,2.81,1.157), (2.745,1.092,2.85,1.157), (2.785,1.092,2.85,1.157), (2.785,1.092,2.987,1.157), (2.922,1.092,2.987,1.157), (2.922,1.092,2.987,1.157), (2.922,1.092,2.987,1.157), (2.922,1.092,3.205,1.157), (3.14,1.092,3.205,1.157), (3.14,1.092,3.342,1.157), (3.277,1.092,3.342,1.157), (3.277,1.092,3.342,1.157), (3.277,1.092,3.342,1.157), (3.277,1.092,3.487,1.157), (3.422,1.092,3.487,1.157), (3.422,1.092,3.5,1.157), (3.435,1.092,3.57,1.157), (3.505,1.092,3.625,1.157), (3.56,1.092,3.625,1.157), (3.56,1.092,3.712,1.157), (3.647,1.092,3.712,1.172), (3.647,1.107,3.885,1.172), (3.82,1.107,3.885,1.172), (3.82,1.107,3.885,1.172), (3.82,1.107,3.885,1.172), (3.82,1.107,4.09,1.172), (4.025,1.107,4.09,1.172), (4.025,1.107,4.11,1.172), (9.665,1.127,9.73,1.262), (1.535,1.13,1.67,1.195), (1.605,1.13,1.687,1.195), (1.622,1.13,1.687,1.195), (1.622,1.13,1.83,1.195), (1.765,1.13,1.83,1.195), (1.765,1.13,1.912,1.195), (1.847,1.13,1.912,1.195), (1.847,1.13,2.02,1.195), (4.045,1.13,4.227,1.195), (4.162,1.13,4.227,1.195), (4.162,1.13,4.347,1.195), (4.282,1.13,4.347,1.195), (4.282,1.13,4.365,1.195), (4.3,1.13,4.365,1.195), (4.3,1.13,4.485,1.195), (4.765,1.13,4.847,1.195), (4.782,1.13,4.847,1.195), (4.782,1.13,5.015,1.195), (4.95,1.13,5.015,1.195), (4.95,1.13,5.015,1.195), (4.95,1.13,5.015,1.195), (4.95,1.13,5.205,1.195), (5.14,1.13,5.205,1.195), (5.14,1.13,5.205,1.195), (5.14,1.13,5.452,1.195), (5.387,1.13,5.452,1.195), (5.387,1.13,5.452,1.195), (5.387,1.13,5.452,1.195), (5.387,1.13,5.59,1.195), (5.525,1.13,5.775,1.195), (5.71,1.13,5.775,1.195), (5.71,1.13,5.775,1.195), (5.71,1.13,5.775,1.195), (5.71,1.13,5.912,1.195), (5.847,1.13,5.912,1.195), (5.847,1.13,5.965,1.195), (5.9,1.13,6.05,1.195), (5.985,1.13,6.05,1.195), (5.985,1.13,6.16,1.195), (6.095,1.13,6.16,1.195), (6.095,1.13,6.345,1.195), (6.28,1.13,6.345,1.195), (6.28,1.13,6.345,1.195), (6.28,1.13,6.482,1.195), (6.417,1.13,6.482,1.195), (6.417,1.13,6.482,1.195), (6.417,1.13,6.482,1.195), (6.417,1.13,6.69,1.195), (6.625,1.13,6.69,1.195), (6.625,1.13,6.69,1.195), (7.38,1.13,7.445,1.35), (7.765,1.13,7.83,1.35), (8.14,1.13,8.205,1.35), (6.97,1.147,7.105,1.212), (7.04,1.147,7.105,1.35), (8.49,1.16,8.625,1.225), (8.56,1.16,8.625,1.35), (8.87,1.16,9.005,1.225), (8.94,1.16,9.005,1.35), (9.285,1.16,9.35,1.295), (9.665,1.197,9.73,1.35), (9.285,1.23,9.35,1.35), (0,1.285,9.96,1.4)])
A(complex110, L18_0, 7.687, 0.747, 0.065, 0.065, 3, 1, 0.56, 0)
R(complex110, L18_0, [(0,0,9.96,0.115), (1.02,0.05,1.085,0.115), (1.02,0.05,1.085,0.115), (1.02,0.05,1.085,0.34), (3.82,0.05,3.885,0.115), (3.82,0.05,3.885,0.115), (3.82,0.05,3.885,0.115), (3.82,0.05,3.885,0.115), (3.82,0.05,3.885,0.302), (6.067,0.05,6.132,0.115), (6.067,0.05,6.132,0.115), (6.067,0.05,6.132,0.305), (6.78,0.05,6.845,0.115), (6.78,0.05,6.845,0.115), (6.78,0.05,6.845,0.115), (6.78,0.05,6.845,0.115), (6.78,0.05,6.845,0.115), (6.78,0.05,6.845,0.115), (6.78,0.05,6.845,0.115), (6.78,0.05,6.845,0.115), (6.78,0.05,6.845,0.712), (8.347,0.05,8.412,0.127), (8.347,0.062,8.412,0.127), (8.347,0.062,8.412,0.127), (8.347,0.062,8.412,0.197), (3.82,0.237,3.955,0.302), (6.067,0.24,6.155,0.305), (6.09,0.24,6.155,0.305), (6.09,0.24,6.155,0.515), (1.02,0.275,1.085,0.34), (1.02,0.275,1.085,0.34), (1.02,0.275,1.085,0.55), (2.025,0.602,2.167,0.675), (2.067,0.607,2.132,0.672), (7,0.612,7.072,0.747), (6.78,0.647,6.915,0.712), (7.007,0.647,7.072,0.712), (1.647,0.652,1.712,0.787), (7,0.682,7.065,0.937), (1.647,0.687,1.712,0.752), (8.247,0.712,8.312,0.847), (0.312,0.722,0.447,0.8), (1.032,0.722,1.167,0.787), (1.032,0.722,1.097,0.8), (1.102,0.722,1.167,0.787), (1.102,0.722,1.305,0.787), (1.24,0.722,1.305,0.787), (1.24,0.722,1.305,0.787), (1.24,0.722,1.305,0.787), (1.24,0.722,1.445,0.787), (1.38,0.722,1.445,0.787), (1.38,0.722,1.445,0.787), (1.38,0.722,1.445,0.787), (1.38,0.722,1.692,0.787), (1.627,0.722,1.692,0.787), (1.627,0.722,1.712,0.787), (4.47,0.722,4.607,0.8), (0.347,0.727,0.412,0.792), (3.712,0.727,3.847,0.8), (3.747,0.727,3.812,0.792), (4.507,0.727,4.572,0.792), (6.165,0.727,6.307,0.8), (6.207,0.727,6.272,0.792), (0.86,0.735,0.995,0.8), (0.93,0.735,1.097,0.8), (2.38,0.735,2.515,0.8), (2.45,0.735,2.572,0.8), (2.507,0.735,2.572,0.8), (2.507,0.735,2.712,0.8), (2.647,0.735,2.712,0.8), (2.647,0.735,2.712,0.8), (2.647,0.735,2.712,0.8), (2.647,0.735,2.85,0.8), (2.785,0.735,2.85,0.8), (2.785,0.735,2.987,0.8), (2.922,0.735,2.987,0.8), (2.922,0.735,2.987,0.8), (2.922,0.735,2.987,0.8), (2.922,0.735,3.205,0.8), (3.14,0.735,3.275,0.8), (3.14,0.735,3.205,0.8), (3.14,0.735,3.205,0.8), (3.21,0.735,3.35,0.8), (3.285,0.735,3.35,0.8), (3.285,0.735,3.487,0.8), (3.422,0.735,3.487,0.8), (3.422,0.735,3.487,0.8), (3.422,0.735,3.487,0.8), (3.422,0.735,3.625,0.8), (3.56,0.735,3.625,0.8), (3.56,0.735,3.712,0.8), (3.647,0.735,3.712,0.8), (3.647,0.735,3.777,0.8), (5.405,0.735,5.547,0.812), (8.772,0.735,8.907,0.812), (7.645,0.74,7.787,0.812), (5.447,0.747,5.512,0.812), (9.267,0.747,9.332,0.812), (9.267,0.747,9.332,0.95), (9.267,0.747,9.42,0.812), (9.355,0.747,9.49,0.812), (9.425,0.747,9.49,0.812), (9.425,0.747,9.49,0.812), (9.425,0.747,9.637,0.812), (9.572,0.747,9.637,0.812), (9.572,0.747,9.775,0.812), (9.71,0.747,9.845,0.812), (9.71,0.747,9.775,0.812), (9.71,0.747,9.775,0.812), (8.247,0.782,8.417,0.847), (8.352,0.782,8.417,0.847), (8.352,0.782,8.45,0.847), (8.385,0.782,8.45,0.847), (8.385,0.782,8.595,0.847), (8.53,0.782,8.595,0.847), (8.53,0.782,8.595,0.95), (6.78,0.872,6.915,0.937), (6.832,0.872,6.897,0.937), (6.832,0.872,6.897,0.937), (6.832,0.872,6.897,0.937), (6.832,0.872,6.897,0.937), (6.832,0.872,6.897,0.937), (6.832,0.872,6.897,0.937), (6.832,0.872,7.065,0.937), (7,0.872,7.065,0.937), (8.53,0.885,8.595,0.95), (8.53,0.885,8.595,0.95), (8.53,0.885,8.595,0.95), (8.53,0.885,8.737,0.95), (8.672,0.885,8.737,0.95), (8.672,0.885,8.737,0.95), (8.672,0.885,8.737,0.95), (8.672,0.885,8.912,0.95), (8.847,0.885,8.912,0.95), (8.847,0.885,9.09,0.95), (9.025,0.885,9.09,0.95), (9.025,0.885,9.09,0.95), (9.025,0.885,9.09,0.95), (9.025,0.885,9.262,0.95), (9.197,0.885,9.332,0.95), (9.197,0.885,9.262,0.95), (9.267,0.885,9.332,0.95), (7.38,1.06,7.445,1.195), (7.765,1.06,7.83,1.195), (8.14,1.06,8.205,1.195), (9.665,1.127,9.73,1.262), (7.38,1.13,7.445,1.35), (7.765,1.13,7.83,1.35), (8.14,1.13,8.205,1.35), (6.97,1.147,7.105,1.212), (7.04,1.147,7.105,1.35), (8.49,1.16,8.625,1.225), (8.56,1.16,8.625,1.35), (8.87,1.16,9.005,1.225), (8.94,1.16,9.005,1.35), (9.285,1.16,9.35,1.295), (9.665,1.197,9.73,1.35), (9.285,1.23,9.35,1.35), (0,1.285,9.96,1.4)])
R(complex110, boundary, [(0,0,9.96,1.4)])
complex110.add(gdstk.Label('A', (8.84,0.78), layer=11, texttype=0))
complex110.add(gdstk.Label('B', (8.28,0.78), layer=11, texttype=0))
complex110.add(gdstk.Label('C', (7.72,0.78), layer=11, texttype=0))
complex110.add(gdstk.Label('D', (5.48,0.78), layer=11, texttype=0))
complex110.add(gdstk.Label('E', (6.24,0.76), layer=11, texttype=0))
complex110.add(gdstk.Label('F', (1.68,0.72), layer=11, texttype=0))
complex110.add(gdstk.Label('G', (0.38,0.76), layer=11, texttype=0))
complex110.add(gdstk.Label('H', (2.1,0.64), layer=11, texttype=0))
complex110.add(gdstk.Label('I', (3.78,0.76), layer=11, texttype=0))
complex110.add(gdstk.Label('J', (4.54,0.76), layer=11, texttype=0))
complex110.add(gdstk.Label('Y', (7.04,0.68), layer=11, texttype=0))
complex110.add(gdstk.Label('VCC', (0,1.4), layer=11, texttype=0))
complex110.add(gdstk.Label('GND', (0,0), layer=11, texttype=0))

lib.write_gds('COMPLEX110.gds')
